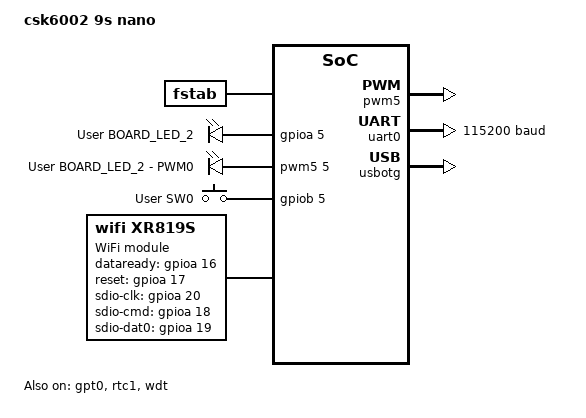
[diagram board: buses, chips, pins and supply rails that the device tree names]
/* SPDX-License-Identifier: Apache-2.0 */

/dts-v1/;
#include <csk/csk6.dtsi>
#include <dt-bindings/pwm/pwm.h>
#include "csk6002_9s_nano_pinctrl.dtsi"

/ {
        model = "csk6002 9s nano";
        compatible = "csk,csk6002_9s_nano";
        aliases {
                led0 = &board_led_2;
                sw0 = &user_button_0;
                pwm-led0 = &green_pwm_led;
                i2c-0 = &i2c0;
                i2c-1 = &i2c1;
        };

        chosen {
                zephyr,console = &uart0;
                zephyr,shell-uart = &uart0;
                zephyr,sram = &sram0;
                zephyr,itcm = &itcm0;
                zephyr,flash = &flash0;
                zephyr,flash_sysfs_storage = &filesystem_part;
                zephyr,flash_controller = &flash;
                /* other chosen settings  for your hardware */
        };

        fstab {
                compatible = "zephyr,fstab";
                lfs1: lfs1 {
                        compatible = "zephyr,fstab,littlefs";
                        mount-point = "/data";
                        partition = <&filesystem_part>;
                        read-size = <16>;
                        prog-size = <16>;
                        cache-size = <64>;
                        lookahead-size = <32>;
                        block-cycles = <512>;
                };
        };

        leds {
                compatible = "gpio-leds";
                board_led_2: board_led_2 {
                        gpios = <&gpioa 5 0>;
                        label = "User BOARD_LED_2";
                };
        };

        pwmleds {
		compatible = "pwm-leds";
		green_pwm_led: green_pwm_led {
			pwms = <&pwm5 5 PWM_POLARITY_NORMAL>;
			label = "User BOARD_LED_2 - PWM0";
		};

	};

        gpio_keys {
                compatible = "gpio-keys";
                user_button_0: button_0 {
                        label = "User SW0";
                        gpios = <&gpiob 5 0>;
                };
        };

        wifi_module: xr819s {
                compatible = "wifi,xr819s";
                label = "WiFi module";
                dataready-gpios = <&gpioa 16 0>;
                reset-gpios = <&gpioa 17 0>;
                sdio-clk-gpios = <&gpioa 20 0>;
                sdio-cmd-gpios = <&gpioa 18 0>;
                sdio-dat0-gpios = <&gpioa 19 0>;
                status = "okay";
        };

        /*
         * Your board-specific hardware: buttons, LEDs, sensors, etc.
         */
};

&gpt0 {
	status = "okay";

	pwm5: pwm5 {
                clock-prescaler = <128>;
                status = "okay";
	};

};

&pwm5 {
        pinctrl-0 = <&pinctrl_pwm5_default>; 
        pinctrl-names = "default";
        status = "okay";
};

&gpioa {
        status = "okay";
};

&gpiob {
        status = "okay";
};

&uart0 {
        pinctrl-0 = <&pinctrl_uart0_rx_default &pinctrl_uart0_tx_default>; 
        pinctrl-names = "default";
        current-speed = <115200>;
        status = "okay";
};

&uart1 {
        status = "disabled";
};

&uart2 {
        status = "disabled";
};

&spi0 {
    status = "disabled";
};

&spi1 {
    status = "disabled";
};

&i2c0 {
        status = "disabled";
};

&i2c1 {
        status = "disabled";
};

&board_led_2 {
        status = "okay";
};

&mailbox0 {
	status = "okay";
};

&dma0 {
	dma-channels = <6>;
	status = "okay";
};

&rtc1 {
        status = "okay";
};

&flash0 {
        /*
         * For more information, see:
         * http: //docs.zephyrproject.org/latest/guides/dts/index.html#flash-partitions
         */
        partitions {
                compatible = "fixed-partitions";
                #address-cells = <1>;
                #size-cells = <1>;

                filesystem_part: partition@200000 {
			label = "xr819s_firmware";
			reg = <0x200000 0x42000>;
		};

                /* storage: 6.625MB for storage */
                storage_partition: partition@700000 {
                        label = "storage";
                        reg = <0x700000 0x100000>;
                };

        };
};

&psram0 {
        reg = <0x30000000 DT_SIZE_M(8)>;
        #address-cells = <1>;
        #size-cells = <1>;

        /* cp core slot: 6MB */
        cp_partition:cp_partition@30000000{             
                compatible = "listenai,csk6-psram-partition";
                reg = <0x30000000 0x600000>;
                status = "okay";
        };

        /* sof communication slot: 1MB */
        section0_partition: section0_partition@30600000 {
                compatible = "listenai,csk6-psram-partition";
                reg = <0x30600000 0x100000>;
                status = "okay";
        };

        /* section0_partition slot: 512KB */
        sof_partition: sof_partition@30700000 {
                compatible = "listenai,csk6-psram-partition";
                reg = <0x30700000 0x80000>;
                status = "okay";
        };

        /* section1_partition slot: 512KB */
        section1_partition: section1_partition@30780000 {
                compatible = "listenai,csk6-psram-partition";
                reg = <0x30780000 0x80000>;
                status = "okay";
        };
};

zephyr_udc0: &usbotg {
        status = "okay";
        num-bidir-endpoints = <6>;
        num-in-endpoints = <6>;
        num-out-endpoints = <6>;
};

&wdt {
        status = "okay";
};

&adc0 {
        status = "disabled";
};
